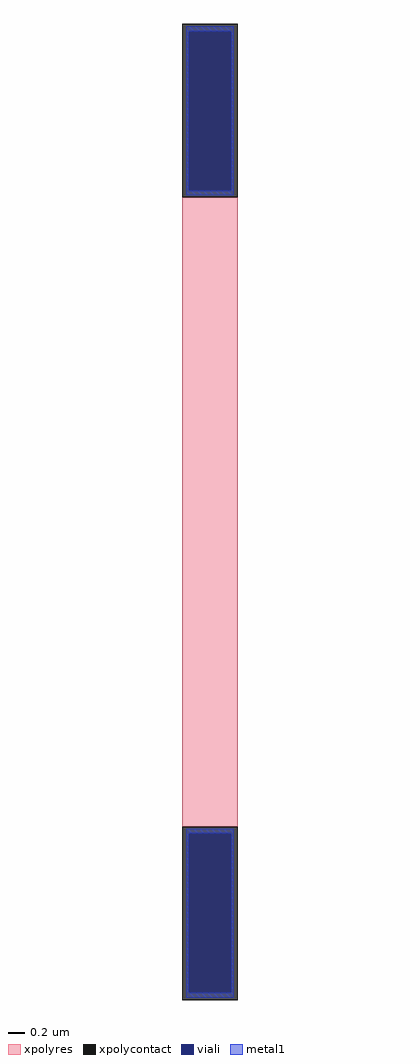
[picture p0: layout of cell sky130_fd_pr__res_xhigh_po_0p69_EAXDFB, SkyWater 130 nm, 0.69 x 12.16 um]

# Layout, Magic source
magic
tech sky130A
magscale 1 2
<< xpolycontact >>
rect -69 784 69 1216
rect -69 -1216 69 -784
<< xpolyres >>
rect -69 -784 69 784
<< viali >>
rect -53 801 53 1198
rect -53 -1198 53 -801
<< metal1 >>
rect -59 1198 59 1210
rect -59 801 -53 1198
rect 53 801 59 1198
rect -59 789 59 801
rect -59 -801 59 -789
rect -59 -1198 -53 -801
rect 53 -1198 59 -801
rect -59 -1210 59 -1198
<< properties >>
string gencell sky130_fd_pr__res_xhigh_po_0p69
string library sky130
string parameters w 0.690 l 8.0 m 1 nx 1 wmin 0.690 lmin 0.50 class resistor rho 2000 val 23.733k dummy 0 dw 0.0 term 188.2 sterm 0.0 caplen 0 wmax 0.690 guard 0 glc 1 grc 1 gtc 1 gbc 1 compatible {sky130_fd_pr__res_xhigh_po_0p35  sky130_fd_pr__res_xhigh_po_0p69 sky130_fd_pr__res_xhigh_po_1p41  sky130_fd_pr__res_xhigh_po_2p85 sky130_fd_pr__res_xhigh_po_5p73} snake 0 full_metal 1 n_guard 0 hv_guard 0 vias 1 viagb 0 viagt 0 viagl 0 viagr 0
<< end >>
